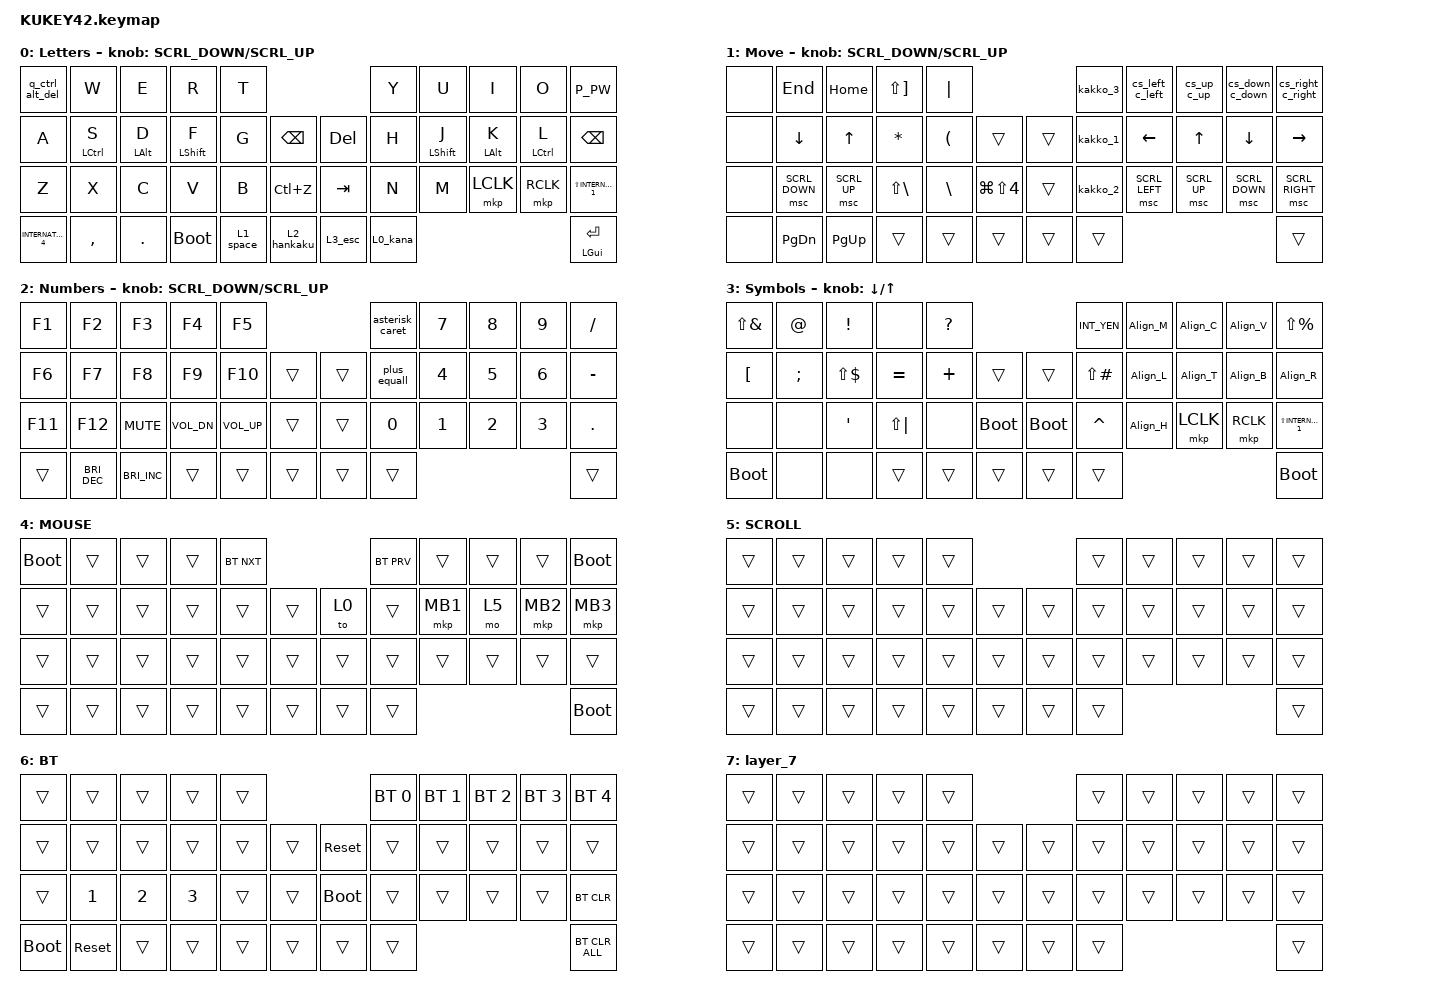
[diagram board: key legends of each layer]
#define ZMK_POINTING_DEFAULT_SCRL_VAL 80

#include <behaviors.dtsi>
#include <dt-bindings/zmk/bt.h>
#include <dt-bindings/zmk/keys.h>
#include <dt-bindings/zmk/pointing.h>

#define MOUSE 4
#define SCROLL 5
#define NUM 6

/ {
    combos {
        compatible = "zmk,combos";

        L1_toggle {
            bindings = <&tog 1>;
            key-positions = <38 41>;
            layers = <0>;
        };

        L2_toggle {
            bindings = <&tog 2>;
            key-positions = <39 41>;
            layers = <0>;
        };

        L3_toggle {
            bindings = <&tog 3>;
            key-positions = <40 41>;
            layers = <0>;
        };
    };

    macros {
        to_layer_0: to_layer_0 {
            compatible = "zmk,behavior-macro-one-param";
            #binding-cells = <1>;
            bindings = <&to 0 &macro_param_1to1 &kp MACRO_PLACEHOLDER>;
            label = "TO_LAYER_0";
        };

        PW: PW {
            compatible = "zmk,behavior-macro";
            #binding-cells = <0>;
            bindings = <&kp LS(W) &kp S &kp POUND &kp N2 &kp N0 &kp N2 &kp N0 &kp N0 &kp N5 &kp N0 &kp N7>;
            label = "PW";
        };

        kakko_1: kakko_1 {
            compatible = "zmk,behavior-macro";
            #binding-cells = <0>;
            bindings =
                <&kp ASTERISK &kp LEFT_PARENTHESIS &kp LEFT>,
                <&macro_press>;

            label = "KAKKO_1";
        };

        kakko_2: kakko_2 {
            compatible = "zmk,behavior-macro";
            #binding-cells = <0>;
            bindings = <&kp RIGHT_BRACKET &kp BACKSLASH &kp LEFT>;
            label = "KAKKO_2";
        };

        kakko_3: kakko_3 {
            compatible = "zmk,behavior-macro";
            #binding-cells = <0>;
            bindings = <&kp RIGHT_BRACE &kp PIPE &kp LEFT>;
            label = "KAKKO_3";
        };

        Align_L: Align_L {
            compatible = "zmk,behavior-macro";
            #binding-cells = <0>;
            bindings = <&kp LEFT_ALT &kp G &kp G &kp A &kp L>;
            label = "ALIGN_L";
        };

        Align_C: Align_C {
            compatible = "zmk,behavior-macro";
            #binding-cells = <0>;
            bindings = <&kp LEFT_ALT &kp G &kp G &kp A &kp C>;
            label = "ALIGN_C";
        };

        Align_R: Align_R {
            compatible = "zmk,behavior-macro";
            #binding-cells = <0>;
            bindings = <&kp LEFT_ALT &kp G &kp G &kp A &kp R>;
            label = "ALIGN_R";
        };

        Align_T: Align_T {
            compatible = "zmk,behavior-macro";
            #binding-cells = <0>;
            bindings = <&kp LEFT_ALT &kp G &kp G &kp A &kp T>;
            label = "ALIGN_T";
        };

        Align_B: Align_B {
            compatible = "zmk,behavior-macro";
            #binding-cells = <0>;
            bindings = <&kp LEFT_ALT &kp G &kp G &kp A &kp B>;
            label = "ALIGN_B";
        };

        Align_M: Align_M {
            compatible = "zmk,behavior-macro";
            #binding-cells = <0>;
            bindings = <&kp LEFT_ALT &kp G &kp G &kp A &kp M>;
            label = "ALIGN_M";
        };

        Align_H: Align_H {
            compatible = "zmk,behavior-macro";
            #binding-cells = <0>;
            bindings = <&kp LEFT_ALT &kp G &kp G &kp A &kp H>;
            label = "ALIGN_H";
        };

        Align_V: Align_V {
            compatible = "zmk,behavior-macro";
            #binding-cells = <0>;
            bindings = <&kp LEFT_ALT &kp G &kp G &kp A &kp V>;
            label = "ALIGN_V";
        };
    };

    behaviors {
        lt_to_layer_0: lt_to_layer_0 {
            compatible = "zmk,behavior-hold-tap";
            label = "LAYER_TAP_TO_0";
            bindings = <&mo>, <&to_layer_0>;

            #binding-cells = <2>;
            tapping-term-ms = <200>;
        };

        tapdance_kana: tapdance_kana {
            compatible = "zmk,behavior-tap-dance";
            label = "TAPDANCE_KANA";
            #binding-cells = <0>;
            bindings = <&kp INT2>, <&kp LANGUAGE_2>, <&sl 1>;

            tapping-term-ms = <400>;
        };

        WheelScroll: WheelScroll {
            compatible = "zmk,behavior-sensor-rotate-var";
            label = "WHEELSCROLL";
            #sensor-binding-cells = <2>;
            bindings = <&msc>, <&msc>;

            tap-ms = <20>;
        };

        L2_hankaku: L2_hankaku {
            compatible = "zmk,behavior-tap-dance";
            label = "L2_HANKAKU";
            #binding-cells = <0>;
            bindings = <&lt 2 LA(GRAVE)>, <&tog 2>;
        };

        L3_esc: L3_esc {
            compatible = "zmk,behavior-tap-dance";
            label = "L3_ESC";
            #binding-cells = <0>;
            bindings = <&lt 3 ESCAPE>, <&tog 3>;
        };

        L1_henkan: L1_henkan {
            compatible = "zmk,behavior-tap-dance";
            label = "L1_HENKAN";
            #binding-cells = <0>;
            bindings = <&lt 1 INT_HENKAN>, <&tog 1>;
        };

        P_PW: P_PW {
            compatible = "zmk,behavior-tap-dance";
            label = "P_PW";
            #binding-cells = <0>;
            bindings = <&kp P>, <&PW>;

            tapping-term-ms = <175>;
        };

        q_ctrl_alt_del: q_ctrl_alt_del {
            compatible = "zmk,behavior-tap-dance";
            label = "Q_CTRL_ALT_DEL";
            #binding-cells = <0>;
            bindings = <&kp Q>, <&mt Q LC(LA(DELETE))>;

            tapping-term-ms = <175>;
        };

        cs_left_c_left: cs_left_c_left {
            compatible = "zmk,behavior-tap-dance";
            label = "CS_LEFT_C_LEFT";
            #binding-cells = <0>;
            bindings =
                <&mt LS(LC(LEFT)) LS(LC(LEFT))>,
                <&mt LC(LEFT) LC(LEFT_ARROW)>;

            tapping-term-ms = <175>;
        };

        cs_up_c_up: cs_up_c_up {
            compatible = "zmk,behavior-tap-dance";
            label = "CS_UP_C_UP";
            #binding-cells = <0>;
            bindings =
                <&mt LS(LC(UP_ARROW)) LS(LC(UP_ARROW))>,
                <&mt LC(LEFT) LC(LEFT_ARROW)>;

            tapping-term-ms = <175>;
        };

        cs_down_c_down: cs_down_c_down {
            compatible = "zmk,behavior-tap-dance";
            label = "CS_DOWN_C_DOWN";
            #binding-cells = <0>;
            bindings = <&mt LS(LC(DOWN)) LS(LC(DOWN))>, <&mt LC(DOWN) LC(DOWN)>;

            tapping-term-ms = <175>;
        };

        cs_right_c_right: cs_right_c_right {
            compatible = "zmk,behavior-tap-dance";
            label = "CS_RIGHT_C_RIGHT";
            #binding-cells = <0>;
            bindings =
                <&mt LS(LC(RIGHT)) LS(LC(RIGHT))>,
                <&mt LC(RIGHT) LC(RIGHT)>;

            tapping-term-ms = <175>;
        };

        L1_space: L1_space {
            compatible = "zmk,behavior-tap-dance";
            label = "L1_SPACE";
            #binding-cells = <0>;
            bindings = <&lt 1 SPACE>, <&tog 1>;

            tapping-term-ms = <175>;
        };

        asterisk_caret: asterisk_caret {
            compatible = "zmk,behavior-tap-dance";
            label = "ASTERISK_CARET";
            #binding-cells = <0>;
            bindings = <&kp KP_ASTERISK>, <&kp EQUAL>;

            tapping-term-ms = <150>;
        };

        M_wheelclick: M_wheelclick {
            compatible = "zmk,behavior-tap-dance";
            label = "M_WHEELCLICK";
            #binding-cells = <0>;
            bindings = <&kp M>, <&mkp MB3>;

            tapping-term-ms = <150>;
        };

        L0hankaku: L0hankaku {
            compatible = "zmk,behavior-tap-dance";
            label = "L0HANKAKU";
            #binding-cells = <0>;
            bindings = <&lt 0 LA(GRAVE)>, <&tog 0>;
        };

        L0_kana: L0_kana {
            compatible = "zmk,behavior-tap-dance";
            label = "L0_KANA";
            #binding-cells = <0>;
            bindings = <&lt 0 INT_KANA>, <&tog 0>;
        };

        plus_equall: plus_equall {
            compatible = "zmk,behavior-tap-dance";
            label = "PLUS_EQUALL";
            #binding-cells = <0>;
            bindings = <&kp LS(EQUAL)>, <&kp EQUAL>;

            tapping-term-ms = <150>;
        };

        centerkeys_hold_tap: centerkeys_hold_tap {
            compatible = "zmk,behavior-hold-tap";
            label = "CENTERKEYS_HOLD_TAP";
            bindings = <&kp>, <&kp>;

            #binding-cells = <2>;
            tapping-term-ms = <130>;
            hold-while-undecided;
            flavor = "tap-preferred";
        };
    };

    keymap {
        compatible = "zmk,keymap";

        Letters {
            bindings = <
&q_ctrl_alt_del      &kp W                         &kp E                            &kp R                         &kp T                                     &kp Y     &kp U                         &kp I                            &kp O                         &P_PW
&kp A                &centerkeys_hold_tap LCTRL S  &centerkeys_hold_tap LEFT_ALT D  &centerkeys_hold_tap LSHFT F  &kp G      &kp BACKSPACE      &kp DELETE  &kp H     &centerkeys_hold_tap LSHFT J  &centerkeys_hold_tap LEFT_ALT K  &centerkeys_hold_tap LCTRL L  &kp BACKSPACE
&kp Z                &kp X                         &kp C                            &kp V                         &kp B      &kp LC(Z)          &kp TAB     &kp N     &kp M                         &mkp LCLK                        &mkp RCLK                     &kp LS(INTERNATIONAL_1)
&kp INTERNATIONAL_4  &kp COMMA                     &kp DOT                          &bootloader                   &L1_space  &L2_hankaku        &L3_esc     &L0_kana                                                                                               &mt LEFT_GUI ENTER
            >;

            sensor-bindings = <&WheelScroll SCRL_DOWN SCRL_UP>;
        };

        Move {
            bindings = <
&none  &kp END         &kp HOME      &kp LS(RIGHT_BRACKET)  &kp PIPE                                                &kakko_3  &cs_left_c_left  &cs_up_c_up   &cs_down_c_down  &cs_right_c_right
&none  &kp DOWN_ARROW  &kp UP_ARROW  &kp ASTERISK           &kp LEFT_PARENTHESIS  &trans                    &trans  &kakko_1  &kp LEFT         &kp UP_ARROW  &kp DOWN_ARROW   &kp RIGHT
&none  &msc SCRL_DOWN  &msc SCRL_UP  &kp LS(BACKSLASH)      &kp BACKSLASH         &kp LG(LS(NUMBER_4))      &trans  &kakko_2  &msc SCRL_LEFT   &msc SCRL_UP  &msc SCRL_DOWN   &msc SCRL_RIGHT
&none  &kp PAGE_DOWN   &kp PAGE_UP   &trans                 &trans                &trans                    &trans  &trans                                                    &trans
            >;

            sensor-bindings = <&WheelScroll SCRL_DOWN SCRL_UP>;
        };

        Numbers {
            bindings = <
&kp F1   &kp F2                &kp F3                &kp F4        &kp F5                            &asterisk_caret  &kp N7  &kp N8  &kp N9  &kp SLASH
&kp F6   &kp F7                &kp F8                &kp F9        &kp F10       &trans      &trans  &plus_equall     &kp N4  &kp N5  &kp N6  &kp MINUS
&kp F11  &kp F12               &kp K_MUTE            &kp C_VOL_DN  &kp C_VOL_UP  &trans      &trans  &kp N0           &kp N1  &kp N2  &kp N3  &kp DOT
&trans   &kp C_BRIGHTNESS_DEC  &kp C_BRIGHTNESS_INC  &trans        &trans        &trans      &trans  &trans                                   &trans
            >;

            sensor-bindings = <&WheelScroll SCRL_DOWN SCRL_UP>;
        };

        Symbols {
            bindings = <
&kp LS(AMPERSAND)  &kp AT    &kp EXCLAMATION   &none         &kp QUESTION                                &kp INT_YEN    &Align_M  &Align_C   &Align_V   &kp LS(PRCNT)
&kp LEFT_BRACKET   &kp SEMI  &kp LS(DLLR)      &kp EQUAL     &kp PLUS      &trans           &trans       &kp LS(POUND)  &Align_L  &Align_T   &Align_B   &Align_R
&none              &none     &kp SINGLE_QUOTE  &kp LS(PIPE)  &none         &bootloader      &bootloader  &kp CARET      &Align_H  &mkp LCLK  &mkp RCLK  &kp LS(INTERNATIONAL_1)
&bootloader        &none     &none             &trans        &trans        &trans           &trans       &trans                                         &bootloader
            >;

            sensor-bindings = <&inc_dec_kp DOWN_ARROW UP_ARROW>;
        };

        MOUSE {
            bindings = <
&bootloader  &trans  &trans  &trans  &bt BT_NXT                      &bt BT_PRV  &trans    &trans  &trans    &bootloader
&trans       &trans  &trans  &trans  &trans      &trans      &to 0   &trans      &mkp MB1  &mo 5   &mkp MB2  &mkp MB3
&trans       &trans  &trans  &trans  &trans      &trans      &trans  &trans      &trans    &trans  &trans    &trans
&trans       &trans  &trans  &trans  &trans      &trans      &trans  &trans                                  &bootloader
            >;
        };

        SCROLL {
            bindings = <
&trans  &trans  &trans  &trans  &trans                      &trans  &trans  &trans  &trans  &trans
&trans  &trans  &trans  &trans  &trans  &trans      &trans  &trans  &trans  &trans  &trans  &trans
&trans  &trans  &trans  &trans  &trans  &trans      &trans  &trans  &trans  &trans  &trans  &trans
&trans  &trans  &trans  &trans  &trans  &trans      &trans  &trans                          &trans
            >;
        };

        BT {
            bindings = <
&trans       &trans        &trans        &trans        &trans                           &bt BT_SEL 0  &bt BT_SEL 1  &bt BT_SEL 2  &bt BT_SEL 3  &bt BT_SEL 4
&trans       &trans        &trans        &trans        &trans  &trans      &sys_reset   &trans        &trans        &trans        &trans        &trans
&trans       &kp NUMBER_1  &kp NUMBER_2  &kp NUMBER_3  &trans  &trans      &bootloader  &trans        &trans        &trans        &trans        &bt BT_CLR
&bootloader  &sys_reset    &trans        &trans        &trans  &trans      &trans       &trans                                                  &bt BT_CLR_ALL
            >;
        };

        layer_7 {
            bindings = <
&trans  &trans  &trans  &trans  &trans                      &trans  &trans  &trans  &trans  &trans
&trans  &trans  &trans  &trans  &trans  &trans      &trans  &trans  &trans  &trans  &trans  &trans
&trans  &trans  &trans  &trans  &trans  &trans      &trans  &trans  &trans  &trans  &trans  &trans
&trans  &trans  &trans  &trans  &trans  &trans      &trans  &trans                          &trans
            >;
        };
    };
};
